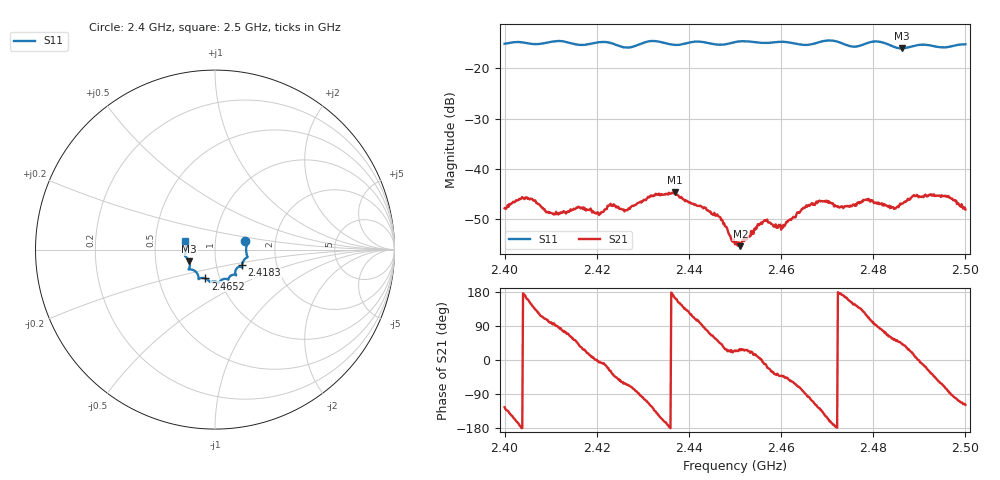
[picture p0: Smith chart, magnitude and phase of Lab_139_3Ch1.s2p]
# Hz S RI R 50
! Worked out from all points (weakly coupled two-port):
!   601 points, 2.4 GHz to 2.5 GHz, reference 50 ohm
!   highest |S21| = -44.63 dB at 2.437 GHz (marker M1); lowest = -55.3 dB at 2.4512 GHz (marker M2)
!   lowest |S11| = -16.1 dB at 2.4862 GHz (marker M3), VSWR 1.37, Z = 37.2 - j4.89 ohm
!   |S11| at or under -10 dB: start of sweep to end of sweep
!   S12 and S22 are empty: the file has one direction only
!   S11 on the Smith chart (normalised r, x): 2.4 GHz: 1.40, +0.13; 2.4183 GHz: 1.33, -0.24; 2.4652 GHz: 0.85, -0.28; 2.5 GHz: 0.71, +0.07
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2.4e9  0.1683 0.0467  -0.00231 -0.00336  0 0  0 0
2.404333e9  0.1773 0.0243  -0.00496 0.000749  0 0  0 0
2.4105e9  0.18 -0.0361  -0.000256 0.00361  0 0  0 0
2.416667e9  0.1555 -0.0682  0.00342 0.00229  0 0  0 0
2.418333e9  0.1502 -0.0866  0.00379 0.000939  0 0  0 0
2.423333e9  0.1472 -0.0967  0.00354 -0.00257  0 0  0 0
2.426333e9  0.1231 -0.1021  0.00175 -0.00349  0 0  0 0
2.433333e9  0.1171 -0.1414  -0.00453 -0.00318  0 0  0 0
2.437e9  0.0909 -0.1435  -0.00562 0.00169  0 0  0 0
2.4465e9  0.0495 -0.1636  0.00228 0.00248  0 0  0 0
2.45e9  0.026 -0.1796  0.00162 0.000751  0 0  0 0
2.451167e9  0.0226 -0.1834  0.00155 0.000739  0 0  0 0
2.4565e9  -0.00456 -0.1777  0.00305 -0.000584  0 0  0 0
2.4605e9  -0.0282 -0.1804  0.00207 -0.00187  0 0  0 0
2.465167e9  -0.0544 -0.161  0.000175 -0.00412  0 0  0 0
2.466667e9  -0.0706 -0.1578  -0.00135 -0.00437  0 0  0 0
2.473167e9  -0.092 -0.1511  -0.00423 0.000589  0 0  0 0
2.4785e9  -0.1374 -0.1102  -0.00232 0.00435  0 0  0 0
2.483333e9  -0.1414 -0.0966  0.00197 0.00371  0 0  0 0
2.486167e9  -0.1432 -0.0642  0.00327 0.00312  0 0  0 0
2.492667e9  -0.1655 -0.0224  0.0044 -0.0032  0 0  0 0
2.5e9  -0.1657 0.0471  -0.00189 -0.00348  0 0  0 0
